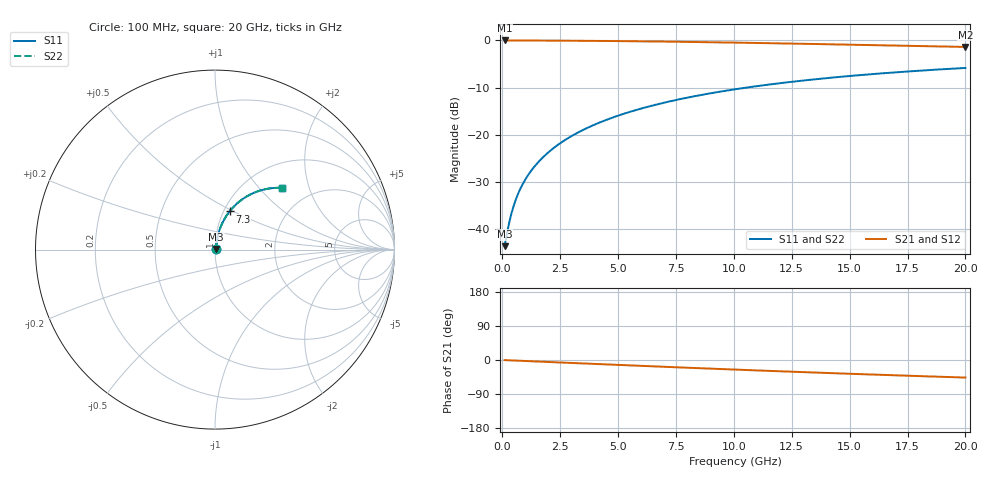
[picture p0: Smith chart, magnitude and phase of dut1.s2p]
! Touchstone file exported from HFSS 2026.1.0
!  File:  C:/ffzhzh/LocalFiles/Ansys_Project_Files/temp_val_BSMRDL_1_1782903037_43084.aedt
!  Generated:  06:51:51 PM Jul  1, 2026
!  Design:  BSMRDL
!  Project:  temp_val_BSMRDL_1_1782903037_43084
! Variables:
!  h_bsmrdl = 2.27um
!  h_ox = 20um
!  h_rdl = 5um
!  h_sub = 80um
!  h_tmrdl = 5um
!  h_tsv = 80um
!  h_via = 3um
!  l_bsmrdl = 602.54um
!  l_sub = 1002.54um
!  l_tmrdl = 200um
!  m_sub = 200um
!  pitch = 56.17um
!  r_tsv = 6um
!  s_tmrdl = 10um
!  w_bsmrdl = 17.11um
!  w_sub = 500um
!  w_tmrdl = 12um
!  x_tsv_center1 = 206um
!  x_tsv_center2 = 825.65um
!  x_tsv_center3 = 1037.65um
!  x_tsv_center4 = 1657.3um
!  x_tsv_center5 = 1869.3um
!  x_tsv_center6 = 2488.95um
# GHz S MA R 50.000000
! Terminal data exported
! Port[1] = BSM_RDL1_1_T1
! Port[2] = BSM_RDL1_1_T2
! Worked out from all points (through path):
!   200 points, 100 MHz to 20 GHz, reference 50 ohm
!   highest |S21| = -0.05 dB at 100 MHz (marker M1); lowest = -1.4 dB at 20 GHz (marker M2)
!   group delay of S21, straight-line fit = 6.46 ps
!   lowest |S11| = -43.6 dB at 100 MHz (marker M3), VSWR 1.01, Z = 50.6 + j0.346 ohm
!   |S11| at or under -10 dB: start of sweep to 10.57 GHz
!   |S22| runs from -43.6 to -5.9 dB; largest |S21 - S12| = 2.5e-15
!   S11 on the Smith chart (normalised r, x): 100 MHz: 1.01, +0.01; 7.3 GHz: 1.07, +0.48; 20 GHz: 1.46, +1.35
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0.1  0.006637 31.0  0.9943 -0.3  0.9943 -0.3  0.006637 31.0
! Gamma 0 0 0 0
! Port Impedance 50 0 50 0
0.3  0.01182 59.5  0.9941 -0.8  0.9941 -0.8  0.01182 59.5
0.4  0.01488 65.2  0.9939 -1.1  0.9939 -1.1  0.01488 65.2
0.5  0.01801 68.8  0.9937 -1.4  0.9937 -1.4  0.01801 68.8
0.6  0.02117 71.2  0.9935 -1.6  0.9935 -1.6  0.02117 71.2
0.8  0.0275 74.2  0.9932 -2.1  0.9932 -2.1  0.0275 74.2
1.1  0.03699 76.6  0.9926 -2.9  0.9926 -2.9  0.03699 76.6
1.5  0.04966 78.0  0.9918 -4.0  0.9918 -4.0  0.04966 78.0
1.8  0.05917 78.4  0.9912 -4.7  0.9912 -4.7  0.05917 78.4
2.1  0.06869 78.5  0.9905 -5.5  0.9905 -5.5  0.06869 78.5
2.7  0.08769 78.1  0.9889 -7.1  0.9889 -7.1  0.08769 78.1
3.5  0.1129 77.1  0.9861 -9.1  0.9861 -9.1  0.1129 77.1
4.2  0.1347 75.8  0.9833 -10.9  0.9833 -10.9  0.1347 75.8
5  0.1593 74.2  0.9794 -13.0  0.9794 -13.0  0.1593 74.2
5.9  0.1865 72.3  0.9744 -15.2  0.9744 -15.2  0.1865 72.3
6.8  0.213 70.3  0.9687 -17.5  0.9687 -17.5  0.213 70.3
7.3  0.2275 69.1  0.9653 -18.7  0.9653 -18.7  0.2275 69.1
8.6  0.264 66.2  0.9556 -21.9  0.9556 -21.9  0.264 66.2
10.1  0.3041 62.8  0.9433 -25.4  0.9433 -25.4  0.3041 62.8
13.4  0.3839 55.6  0.913 -32.9  0.913 -32.9  0.3839 55.5
16.7  0.4521 48.7  0.8809 -39.9  0.8809 -39.9  0.4521 48.7
20  0.5092 42.4  0.8491 -46.3  0.8491 -46.3  0.5092 42.4
